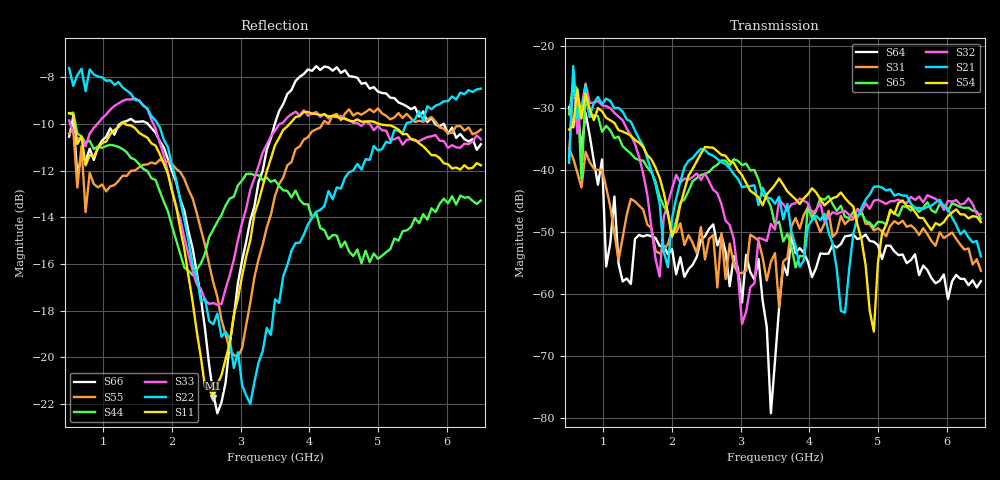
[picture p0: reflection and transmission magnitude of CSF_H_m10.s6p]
!Keysight Technologies,M9804A,MY58100912,A.14.10.03
!Date: Thursday, April 27, 2023 10:28:33
!Correction: S11(C  6-Port  )
!S12(C  6-Port  )
!S13(C  6-Port  )
!S14(C  6-Port  )
!S15(C  6-Port  )
!S16(C  6-Port  )
!S21(C  6-Port  )
!S22(C  6-Port  )
!S23(C  6-Port  )
!S24(C  6-Port  )
!S25(C  6-Port  )
!S26(C  6-Port  )
!S31(C  6-Port  )
!S32(C  6-Port  )
!S33(C  6-Port  )
!S34(C  6-Port  )
!S35(C  6-Port  )
!S36(C  6-Port  )
!S41(C  6-Port  )
!S42(C  6-Port  )
!S43(C  6-Port  )
!S44(C  6-Port  )
!S45(C  6-Port  )
!S46(C  6-Port  )
!S51(C  6-Port  )
!S52(C  6-Port  )
!S53(C  6-Port  )
!S54(C  6-Port  )
!S55(C  6-Port  )
!S56(C  6-Port  )
!S61(C  6-Port  )
!S62(C  6-Port  )
!S63(C  6-Port  )
!S64(C  6-Port  )
!S65(C  6-Port  )
!S66(C  6-Port  )
!S6P File: Measurement: :
# Hz S  RI  R 50
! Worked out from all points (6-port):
!   101 points, 500 MHz to 6.5 GHz, reference 50 ohm
!   strongest paths, dB at 500 MHz, 2 GHz, 3.5 GHz, 5 GHz, 6.5 GHz:
!     S54: -33.5, -50.7, -42.4, -54.9, -48.4
!     S21: -38.8, -47.7, -45.4, -42.6, -53.9
!     S32: -38.0, -43.0, -49.6, -44.8, -47.1
!     S65: -31.0, -50.7, -48.8, -48.3, -47.8
!     S31: -36.6, -49.8, -53.4, -49.4, -56.3
!     S64: -29.8, -52.8, -70.8, -52.1, -57.9
!   lowest |S11| = -21.7 dB at 2.6 GHz (marker M1), VSWR 1.18, Z = 42.7 + j1.98 ohm
!   |S11| at or under -10 dB: 579.1 MHz to 1.262 GHz (682.7 MHz wide, 74.2 % of centre); 1.315 GHz to 3.713 GHz (2.399 GHz wide, 95.4 % of centre); 5.016 GHz to end of sweep
